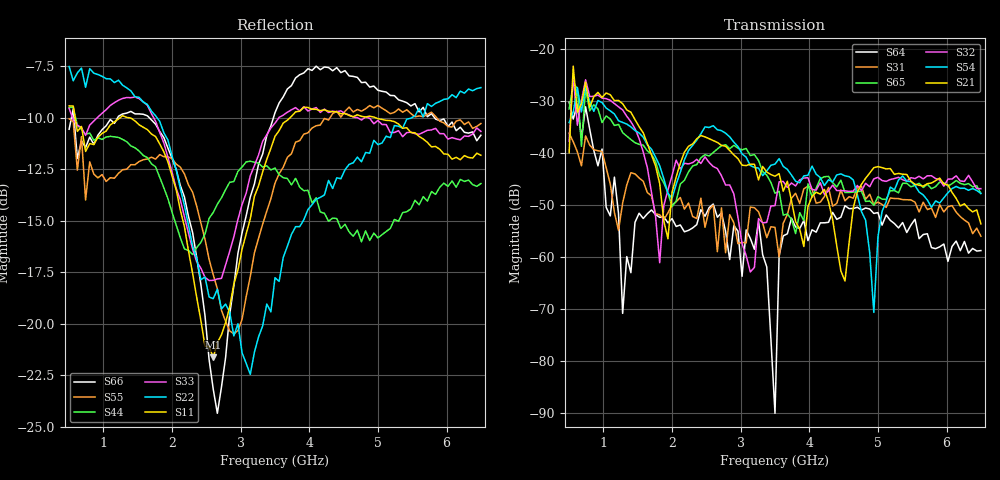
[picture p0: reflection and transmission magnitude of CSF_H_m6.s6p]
!Keysight Technologies,M9804A,MY58100912,A.14.10.03
!Date: Thursday, April 27, 2023 10:28:33
!Correction: S11(C  6-Port  )
!S12(C  6-Port  )
!S13(C  6-Port  )
!S14(C  6-Port  )
!S15(C  6-Port  )
!S16(C  6-Port  )
!S21(C  6-Port  )
!S22(C  6-Port  )
!S23(C  6-Port  )
!S24(C  6-Port  )
!S25(C  6-Port  )
!S26(C  6-Port  )
!S31(C  6-Port  )
!S32(C  6-Port  )
!S33(C  6-Port  )
!S34(C  6-Port  )
!S35(C  6-Port  )
!S36(C  6-Port  )
!S41(C  6-Port  )
!S42(C  6-Port  )
!S43(C  6-Port  )
!S44(C  6-Port  )
!S45(C  6-Port  )
!S46(C  6-Port  )
!S51(C  6-Port  )
!S52(C  6-Port  )
!S53(C  6-Port  )
!S54(C  6-Port  )
!S55(C  6-Port  )
!S56(C  6-Port  )
!S61(C  6-Port  )
!S62(C  6-Port  )
!S63(C  6-Port  )
!S64(C  6-Port  )
!S65(C  6-Port  )
!S66(C  6-Port  )
!S6P File: Measurement: :
# Hz S  RI  R 50
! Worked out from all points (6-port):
!   101 points, 500 MHz to 6.5 GHz, reference 50 ohm
!   strongest paths, dB at 500 MHz, 2 GHz, 3.5 GHz, 5 GHz, 6.5 GHz:
!     S21: -39.9, -47.6, -44.5, -42.6, -53.6
!     S54: -34.1, -48.7, -42.1, -56.2, -47.8
!     S32: -37.7, -44.3, -50.1, -44.7, -46.9
!     S65: -31.5, -50.3, -47.7, -48.4, -47.8
!     S31: -36.2, -50.0, -54.3, -49.4, -56.0
!     S64: -30.2, -52.6, -90.1, -51.5, -58.8
!   lowest |S11| = -21.6 dB at 2.6 GHz (marker M1), VSWR 1.18, Z = 42.6 + j1.99 ohm
!   |S11| at or under -10 dB: 588.1 MHz to 1.239 GHz (651.1 MHz wide, 71.3 % of centre); 1.388 GHz to 3.717 GHz (2.329 GHz wide, 91.3 % of centre); 4.971 GHz to end of sweep
